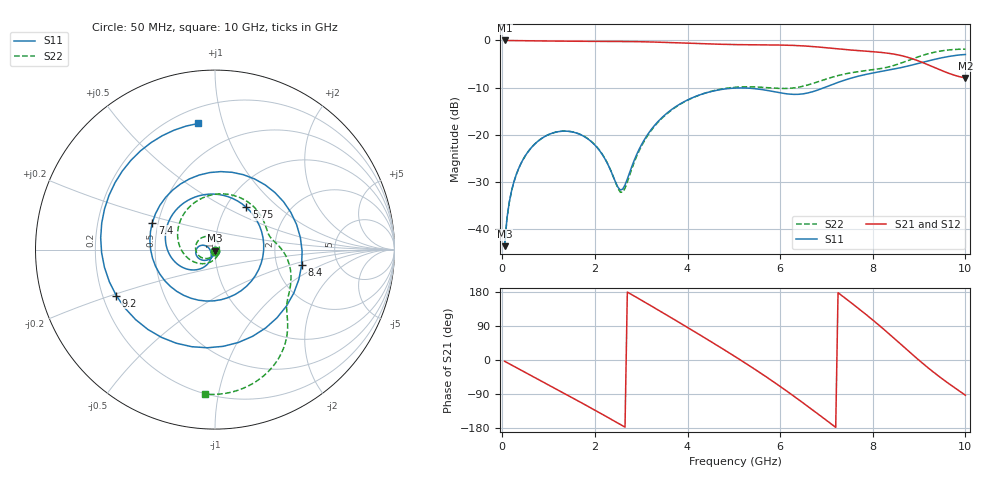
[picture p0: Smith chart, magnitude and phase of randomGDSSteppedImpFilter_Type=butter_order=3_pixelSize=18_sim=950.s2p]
! freq	dB(S11)	phase(S11)	dB(S12)	phase(S12)
!  dB(S21)	phase(S21)	dB(S22)	phase(S22)
!S-par simulation data
#  GHz  S  DB  R 50
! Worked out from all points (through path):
!   200 points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, 50 MHz to 10 GHz, reference 50 ohm
!   highest |S21| = -0.01 dB at 50 MHz (marker M1); lowest = -7.9 dB at 10 GHz (marker M2)
!   lowest |S11| = -43.6 dB at 50 MHz (marker M3), VSWR 1.01, Z = 50 - j0.658 ohm
!   |S11| at or under -10 dB: start of sweep to 6.956 GHz
!   |S22| runs from -43.7 to -1.9 dB; largest |S21 - S12| = 0
!   S11 on the Smith chart (normalised r, x): 50 MHz: 1.00, -0.01; 5.75 GHz: 1.24, +0.64; 7.4 GHz: 0.46, +0.16; 8.4 GHz: 2.76, -0.64; 9.2 GHz: 0.26, -0.21; 10 GHz: 0.29, +0.83
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0.05  -43.64 -88.9  -0.01 -3.4  -0.01 -3.4  -43.65 -89.8
0.2  -31.92 -100.8  -0.03 -13.3  -0.03 -13.3  -31.93 -103.9
0.55  -23.70 -122.3  -0.07 -36.4  -0.07 -36.4  -23.71 -131.0
1.15  -19.47 -156.6  -0.14 -75.8  -0.14 -75.8  -19.47 -176.4
1.75  -20.29 172.2  -0.18 -115.6  -0.18 -115.6  -20.25 135.2
2.6  -31.55 -149.7  -0.22 -173.7  -0.22 -173.7  -32.19 -16.8
3.4  -16.83 -130.1  -0.38 129.5  -0.38 129.5  -16.98 -153.1
4.15  -11.98 -172.2  -0.64 74.9  -0.64 74.9  -12.00 140.5
4.65  -10.54 154.5  -0.80 37.7  -0.80 37.7  -10.47 100.1
5.05  -10.10 123.5  -0.89 7.2  -0.89 7.2  -9.92 70.8
5.75  -10.66 53.4  -0.95 -48.7  -0.95 -48.7  -10.05 30.7
6.25  -11.43 -16.6  -1.05 -91.4  -1.05 -91.4  -10.12 14.7
6.7  -10.88 -91.3  -1.30 -131.8  -1.30 -131.8  -9.14 4.7
7.05  -9.64 -148.5  -1.60 -163.9  -1.60 -163.9  -8.02 -5.3
7.4  -8.40 156.8  -1.93 163.6  -1.93 163.6  -7.11 -16.8
7.9  -7.11 77.5  -2.32 115.6  -2.32 115.6  -6.35 -31.5
8.35  -6.28 -1.1  -2.74 69.2  -2.74 69.2  -5.60 -40.4
8.4  -6.19 -10.3  -2.82 63.8  -2.82 63.8  -5.47 -41.2
8.8  -5.34 -85.2  -3.72 20.5  -3.72 20.5  -4.12 -49.9
9.2  -4.34 -155.1  -5.19 -21.2  -5.19 -21.2  -2.81 -63.1
9.55  -3.57 152.9  -6.63 -54.2  -6.63 -54.2  -2.13 -76.5
10  -2.98 97.5  -7.95 -92.9  -7.95 -92.9  -1.87 -94.0
